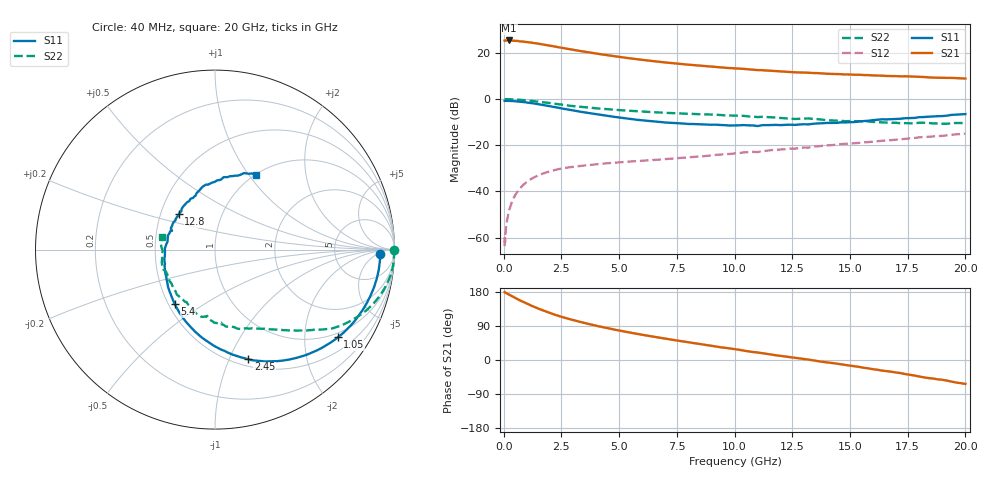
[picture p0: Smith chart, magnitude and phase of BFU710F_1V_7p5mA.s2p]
! Filename:  P:\Prog\Test\Noise\ATS_data\Testdata_Net\BFU710\BFU710_2W_A1_1V7.5mA_D.s2p
! Date/Time: Fri 29/Apr/2011 13:26:14
! BFU710_2W_A1_1V7.5mA
! bias mode 1: Vout= 1.0001 V, Iout= 7.4850 mA, Vin= 0.8394 V, Iin= 0.0270 mA
! Date/time Wed Mar 16 13:16:08 2011
! Device data file deembeded for feedlines and parallel
! Original file: \BFU710\BFU710_2W_A1_1V7.5mA_R.s2p
! Feed-files: PR003V01_101208_Feed1.s2p, PR003V01_101208_Feed2.s2p
! Parallel-file: PR003V01_101208_Par.s2p
# MHz S MA R 50
!  Freq-MHz  S11-mag  S11-arg  S21-mag  S21-arg  S12-mag  S12-arg  S22-mag  S22-arg
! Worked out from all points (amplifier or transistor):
!   167 points, 40 MHz to 20 GHz, reference 50 ohm
!   highest |S21| = 25.4 dB at 240 MHz (marker M1)
!   |S21| within 3 dB of that: start of sweep to 2.408 GHz
!   unconditionally stable (mu >= 1): 5.679 GHz to 17.54 GHz
!   at 550 MHz: K = 0.07, MSG = 33.0 dB, |S12| = -40.8 dB
!   at 4.2 GHz: K = 0.78, MSG = 23.8 dB, |S12| = -28.0 dB
!   at 20 GHz: K = 0.87, MSG = 11.9 dB, |S12| = -15.0 dB
!   S11 on the Smith chart (normalised r, x): 40 MHz: 22, -7; 1.05 GHz: 0.87, -2.89; 2.45 GHz: 0.57, -1.18; 5.4 GHz: 0.54, -0.38; 12.8 GHz: 0.62, +0.27; 20 GHz: 1.01, +1.08
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40  0.9216 -1.4  18.6 179.0  0.0006527 88.3  0.996 -0.2
50  0.9245 -2.1  18.66 178.2  0.001118 64.8  0.9967 -0.5
60  0.919 -2.1  18.4 178.0  0.0007933 82.1  0.9977 -0.6
90  0.9212 -3.1  18.64 177.1  0.001443 87.1  0.9983 -1.3
240  0.917 -8.5  18.67 172.2  0.003925 87.2  0.9969 -4.2
600  0.8926 -20.9  18.26 160.6  0.009954 79.8  0.9781 -10.9
1050  0.8406 -35.5  17.14 147.5  0.01674 70.6  0.9355 -18.4
1400  0.792 -46.0  16.22 138.2  0.02123 64.6  0.8938 -23.5
1750  0.741 -55.6  15.2 129.7  0.02495 59.5  0.8513 -27.9
2100  0.6892 -64.7  14.14 121.9  0.02814 55.2  0.8097 -31.9
2450  0.6382 -73.1  13.1 115.0  0.03102 51.6  0.7644 -35.4
2900  0.5791 -82.8  11.93 107.1  0.03368 47.0  0.716 -38.5
3400  0.5259 -92.3  10.86 99.2  0.03604 44.0  0.677 -41.8
4400  0.4401 -110.3  9.087 85.2  0.04048 39.7  0.6114 -47.4
5400  0.3766 -126.7  7.735 73.2  0.04422 36.8  0.5619 -52.5
6800  0.3186 -147.6  6.388 58.4  0.04936 34.5  0.5131 -59.4
8200  0.2889 -166.9  5.479 45.0  0.05588 33.2  0.4788 -67.0
10200  0.271 166.3  4.585 27.0  0.06802 29.8  0.4352 -79.9
12800  0.2823 135.6  3.792 4.7  0.0866 22.6  0.3756 -97.7
13400  0.2924 129.5  3.679 -0.9  0.09361 20.9  0.3735 -105.4
16800  0.3678 94.7  3.164 -31.0  0.1293 5.3  0.3073 -141.7
20000  0.4742 61.2  2.794 -63.1  0.1788 -15.7  0.3013 166.3
